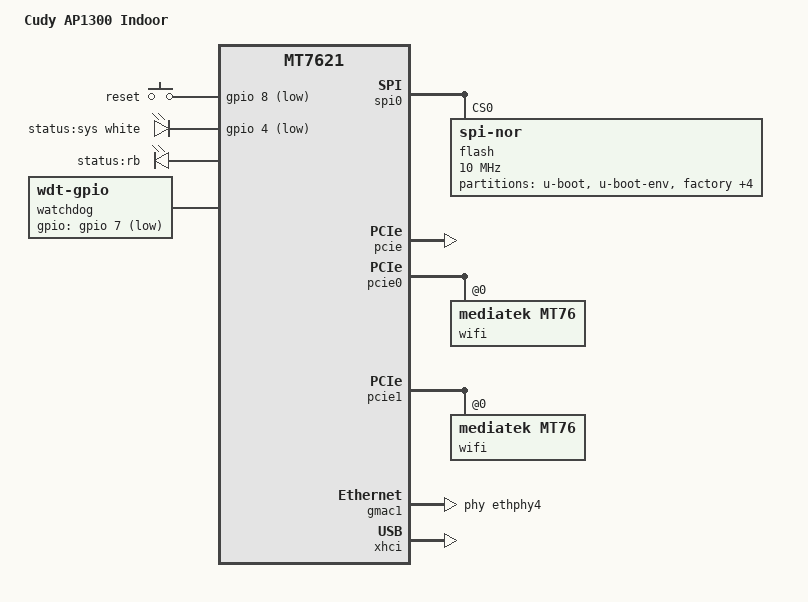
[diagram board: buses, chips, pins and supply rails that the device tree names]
// SPDX-License-Identifier: GPL-2.0-or-later OR MIT

#include "mt7621.dtsi"

#include <dt-bindings/input/input.h>
#include <dt-bindings/leds/common.h>
#include <dt-bindings/gpio/gpio.h>

/ {
	compatible = "cudy,ap1300indoor", "mediatek,mt7621-soc";
	model = "Cudy AP1300 Indoor";

	aliases {
		led-boot      = &led_sys;
		led-failsafe  = &led_sys;
		led-running   = &led_sys;
		led-upgrade   = &led_sys;
		label-mac-device = &gmac0;
	};

	chosen {
		bootargs = "console=ttyS0,115200";
	};

	keys {
		compatible = "gpio-keys";

		reset {
			label       = "reset";
			gpios       = <&gpio 8 GPIO_ACTIVE_LOW>;
			linux,code  = <KEY_RESTART>;
		};
	};

	leds {
		compatible = "gpio-leds";

		/* Single-color status LED on GPIO 4 (white when “on”): */
		led_sys: status {
			label            = "status:sys";
			gpios            = <&gpio 4 GPIO_ACTIVE_LOW>;
			color            = <LED_COLOR_ID_WHITE>;
			function         = LED_FUNCTION_STATUS;
			default-state    = "on";
		};

		/* Bi-color LED (red + blue), driven by two GPIOs: */
		led_rb {
			label    = "status:rb";
			function = LED_FUNCTION_HEARTBEAT;

			/* Red component (GPIO 46) */
			led_red: led@0 {
				color = <LED_COLOR_ID_RED>;
				gpios = <&gpio 46 GPIO_ACTIVE_LOW>;
			};

			/* Blue component (GPIO 45) */
			led_blue: led@1 {
				color = <LED_COLOR_ID_BLUE>;
				gpios = <&gpio 45 GPIO_ACTIVE_LOW>;
			};
		};
	};

	watchdog {
		compatible    = "linux,wdt-gpio";
		gpios         = <&gpio 7 GPIO_ACTIVE_LOW>;
		hw_algo       = "toggle";
		/* ~10-second timeout */
		hw_margin_ms  = <10000>;
		always-running;
	};
};

&spi0 {
	status = "okay";

	flash@0 {
		compatible         = "jedec,spi-nor";
		reg                = <0>;
		spi-max-frequency  = <10000000>;
		m25p,fast-read;

		partitions {
			compatible   = "fixed-partitions";
			#address-cells = <1>;
			#size-cells    = <1>;

			partition@0 {
				label     = "u-boot";
				reg       = <0x0 0x30000>;
				read-only;
			};

			partition@30000 {
				label     = "u-boot-env";
				reg       = <0x30000 0x10000>;
				read-only;
			};

			partition@40000 {
				label     = "factory";
				reg       = <0x40000 0x10000>;
				read-only;

				nvmem-layout {
					compatible     = "fixed-layout";
					#address-cells = <1>;
					#size-cells    = <1>;

					eeprom_factory_0: eeprom@0 {
						reg = <0x0 0x400>;
					};

					eeprom_factory_8000: eeprom@8000 {
						reg = <0x8000 0x4da8>;
					};
				};
			};

			partition@50000 {
				compatible = "denx,uimage";
				label      = "firmware";
				reg        = <0x50000 0xf80000>;
			};

			partition@fd0000 {
				label     = "debug";
				reg       = <0xfd0000 0x10000>;
				read-only;
			};

			partition@fe0000 {
				label     = "backup";
				reg       = <0xfe0000 0x10000>;
				read-only;
			};

			partition@ff0000 {
				label     = "bdinfo";
				reg       = <0xff0000 0x10000>;
				read-only;

				nvmem-layout {
					compatible     = "fixed-layout";
					#address-cells = <1>;
					#size-cells    = <1>;

					macaddr_bdinfo_de00: macaddr@de00 {
						compatible         = "mac-base";
						reg                = <0xde00 0x6>;
						#nvmem-cell-cells  = <1>;
					};
				};
			};
		};
	};
};

&pcie {
	status = "okay";
};

&pcie0 {
	wifi@0,0 {
		compatible          = "mediatek,mt76";
		reg                 = <0x0000 0 0 0 0>;
		nvmem-cells         = <&eeprom_factory_0>, <&macaddr_bdinfo_de00 1>;
		nvmem-cell-names    = "eeprom", "mac-address";
		ieee80211-freq-limit = <2400000 2500000>;
	};
};

&pcie1 {
	wifi@1,0 {
		compatible          = "mediatek,mt76";
		reg                 = <0x0000 0 0 0 0>;
		nvmem-cells         = <&eeprom_factory_8000>, <&macaddr_bdinfo_de00 2>;
		nvmem-cell-names    = "eeprom", "mac-address";
		ieee80211-freq-limit = <5000000 6000000>;
	};
};

&gmac0 {
	nvmem-cells       = <&macaddr_bdinfo_de00 1>;
	nvmem-cell-names  = "mac-address";
};

&gmac1 {
	status            = "okay";
	label             = "lan";
	phy-handle        = <&ethphy4>;

	nvmem-cells       = <&macaddr_bdinfo_de00 0>;
	nvmem-cell-names  = "mac-address";
};

&ethphy4 {
	/delete-property/ interrupts;
};

&xhci {
	status = "okay";
};

&state_default {
	gpio {
		groups   = "wdt", "i2c", "jtag";
		function = "gpio";
	};
};
